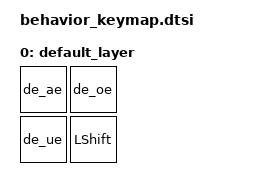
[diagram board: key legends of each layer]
#include <dt-bindings/zmk/keys.h>
#include <behaviors.dtsi>
#include <dt-bindings/zmk/kscan_mock.h>

#include "zmk-helpers/helper.h"
#include "zmk-helpers/unicode-chars/german.dtsi"

ZMK_LAYER(default_layer,
    &de_ae &de_oe
    &de_ue &kp LSHFT
)
